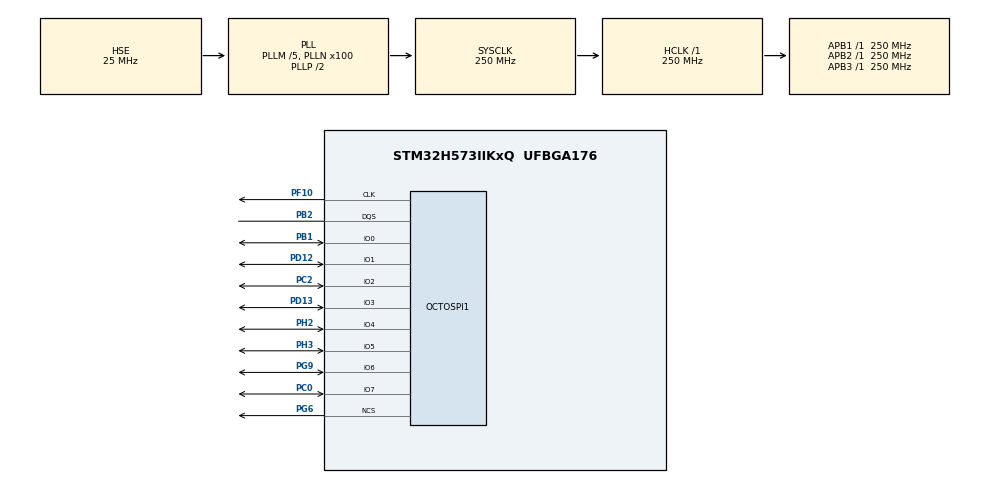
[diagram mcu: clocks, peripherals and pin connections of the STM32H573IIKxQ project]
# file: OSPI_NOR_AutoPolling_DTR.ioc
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CORTEX_M33_NS.userName=CORTEX_M33
Mcu.Family=STM32H5
Mcu.Name=STM32H573IIKxQ
Mcu.Package=UFBGA176
NVIC.OCTOSPI1_IRQn=true\:0\:0\:false\:false\:true\:true\:true\:true
NVIC.PriorityGroup=NVIC_PRIORITYGROUP_4
OCTOSPI1.ChipSelectHighTimeCycle=2
OCTOSPI1.ClockPrescaler=1
OCTOSPI1.DelayBlockBypass=HAL_XSPI_DELAY_BLOCK_ON
OCTOSPI1.DelayHoldQuarterCycle=HAL_XSPI_DHQC_ENABLE
OCTOSPI1.FifoThresholdByte=4
OCTOSPI1.MemorySize=HAL_XSPI_SIZE_512MB
OCTOSPI1.MemoryType=HAL_XSPI_MEMTYPE_MACRONIX
OCTOSPI1.PhaseSel=4
OCTOSPI1.Units=35
PB1.Mode=OCTOSPI1_IO_Octo
PB1.Signal=OCTOSPI1_IO0
PB2.Mode=octods_mode
PB2.Signal=OCTOSPI1_DQS
PC0.Mode=OCTOSPI1_IO_Octo
PC0.Signal=OCTOSPI1_IO7
PC2.Mode=OCTOSPI1_IO_Octo
PC2.Signal=OCTOSPI1_IO2
PD12.Mode=OCTOSPI1_IO_Octo
PD12.Signal=OCTOSPI1_IO1
PD13.Mode=OCTOSPI1_IO_Octo
PD13.Signal=OCTOSPI1_IO3
PF10.Mode=octods_mode
PF10.Signal=OCTOSPI1_CLK
PG6.Mode=octods_mode
PG6.Signal=OCTOSPI1_NCS
PG9.Mode=OCTOSPI1_IO_Octo
PG9.Signal=OCTOSPI1_IO6
PH0-OSC_IN(PH0).Mode=HSE-DIG-External-Clock-Source
PH0-OSC_IN(PH0).Signal=RCC_OSC_IN
PH2.Mode=OCTOSPI1_IO_Octo
PH2.Signal=OCTOSPI1_IO4
PH3.Mode=OCTOSPI1_IO_Octo
PH3.Signal=OCTOSPI1_IO5
ProjectManager.HeapSize=0x200
ProjectManager.StackSize=0x400
ProjectManager.TargetToolchain=EWARM V9.20
RCC.ADCFreq_Value=250000000
RCC.AHBFreq_Value=250000000
RCC.APB1Freq_Value=250000000
RCC.APB1TimFreq_Value=250000000
RCC.APB2Freq_Value=250000000
RCC.APB2TimFreq_Value=250000000
RCC.APB3Freq_Value=250000000
RCC.CSI_VALUE=4000000
RCC.CortexFreq_Value=250000000
RCC.EPOD_VALUE=25000000
RCC.HCLKFreq_Value=250000000
RCC.HSE_VALUE=25000000
RCC.HSI48_VALUE=48000000
RCC.HSIDiv=RCC_HSI_DIV1
RCC.HSI_VALUE=64000000
RCC.LSE_VALUE=32768
RCC.LSIRC_VALUE=32000
RCC.OCTOSPIMCLockSelection=RCC_OSPICLKSOURCE_PLL2R
RCC.PLL2M=8
RCC.PLL2N=45
RCC.PLL2Source=RCC_PLL2_SOURCE_HSI
RCC.PLLM=5
RCC.PLLN=100
RCC.PLLSourceVirtual=RCC_PLL1_SOURCE_HSE
RCC.SYSCLKFreq_VALUE=250000000
RCC.SYSCLKSource=RCC_SYSCLKSOURCE_PLLCLK
RCC.USBFreq_Value=48000000
RCC.VCOOutputFreq_Value=500000000
VP_ICACHE_VS_ICACHE.Mode=DefaultMode
VP_PWR_VS_SECSignals.Mode=Security/Privilege
board=custom

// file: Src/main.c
/* USER CODE BEGIN Header */
/**
  ******************************************************************************
  * @file           : main.c
  * @brief          : Main program body
  ******************************************************************************
  * @attention
  *
  * Copyright (c) 2023 STMicroelectronics.
  * All rights reserved.
  *
  * This software is licensed under terms that can be found in the LICENSE file
  * in the root directory of this software component.
  * If no LICENSE file comes with this software, it is provided AS-IS.
  *
  ******************************************************************************
  */
/* USER CODE END Header */
#include "main.h"

XSPI_HandleTypeDef hxspi1;

/* USER CODE BEGIN PV */
/* Buffer used for transmission */
uint8_t aTxBuffer[BUFFERSIZE];

/* Buffer used for reception */
uint8_t aRxBuffer[BUFFERSIZE];
/* USER CODE END PV */

void SystemClock_Config(void);
static void MX_GPIO_Init(void);
static void MX_ICACHE_Init(void);
static void MX_OCTOSPI1_Init(void);
/* USER CODE BEGIN PFP */
static void XSPI_WriteEnable(XSPI_HandleTypeDef *hospi);
static void XSPI_AutoPollingMemReady(XSPI_HandleTypeDef *hospi);
static void XSPI_OctalDtrModeCfg(XSPI_HandleTypeDef *hospi);
/* USER CODE END PFP */

int main(void)
{

  /* USER CODE BEGIN 1 */
  XSPI_RegularCmdTypeDef sCommand = {0};
  uint16_t index, errorBuffer = 0;

  /* STM32H5xx HAL library initialization:
       - Systick timer is configured by default as source of time base, but user
             can eventually implement his proper time base source (a general purpose
             timer for example or other time source), keeping in mind that Time base
             duration should be kept 1ms since PPP_TIMEOUT_VALUEs are defined and
             handled in milliseconds basis.
       - Set NVIC Group Priority to 4
       - Low Level Initialization
     */
  /* USER CODE END 1 */

  /* MCU Configuration--------------------------------------------------------*/

  /* Reset of all peripherals, Initializes the Flash interface and the Systick. */
  HAL_Init();

  /* Configure the system clock */
  SystemClock_Config();

  /* USER CODE BEGIN SysInit */
  BSP_LED_Init(LED2);
  BSP_LED_Init(LED1);
  /* USER CODE END SysInit */

  /* Initialize all configured peripherals */
  MX_GPIO_Init();
  MX_ICACHE_Init();
  MX_OCTOSPI1_Init();
  /* USER CODE BEGIN 2 */

  /* Initialize Transmission and Reception buffer --------------------------------------- */
  for (index = 0; index < BUFFERSIZE; index++)
  {
    aTxBuffer[index] = index;
    aRxBuffer[index] = 0;
  }

  /* Configure the memory in octal mode ------------------------------------- */
  XSPI_OctalDtrModeCfg(&hxspi1);

  /* Erasing Sequence ----------------------------------------------- */
  XSPI_WriteEnable(&hxspi1);

  sCommand.OperationType      = HAL_XSPI_OPTYPE_COMMON_CFG;
  sCommand.Instruction        = OCTAL_SECTOR_ERASE_CMD;
  sCommand.InstructionMode    = HAL_XSPI_INSTRUCTION_8_LINES;
  sCommand.InstructionWidth   = HAL_XSPI_INSTRUCTION_16_BITS;
  sCommand.InstructionDTRMode = HAL_XSPI_INSTRUCTION_DTR_ENABLE;
  sCommand.AddressMode        = HAL_XSPI_ADDRESS_8_LINES;
  sCommand.AddressWidth       = HAL_XSPI_ADDRESS_32_BITS;
  sCommand.AddressDTRMode     = HAL_XSPI_ADDRESS_DTR_ENABLE;
  sCommand.AlternateBytesMode = HAL_XSPI_ALT_BYTES_NONE;
  sCommand.DataDTRMode        = HAL_XSPI_DATA_DTR_ENABLE;
  sCommand.SIOOMode           = HAL_XSPI_SIOO_INST_EVERY_CMD;
  sCommand.DataMode           = HAL_XSPI_DATA_NONE;
  sCommand.Address            = 0;
  sCommand.DummyCycles        = 0;
  sCommand.DQSMode            = HAL_XSPI_DQS_DISABLE;
  sCommand.IOSelect           = HAL_XSPI_SELECT_IO_7_0;
  sCommand.SIOOMode           = HAL_XSPI_SIOO_INST_EVERY_CMD;

  if (HAL_XSPI_Command(&hxspi1, &sCommand, HAL_XSPI_TIMEOUT_DEFAULT_VALUE) != HAL_OK)
  {
    Error_Handler();
  }

  /* Configure automatic polling mode to wait for end of erase ------- */
  XSPI_AutoPollingMemReady(&hxspi1);

  /* Writing Sequence ------------------------------------------------ */
  XSPI_WriteEnable(&hxspi1);

  sCommand.Instruction = OCTAL_PAGE_PROG_CMD;
  sCommand.DataMode    = HAL_XSPI_DATA_8_LINES;
  sCommand.DataLength  = BUFFERSIZE;
  sCommand.Address     = 0;

  if (HAL_XSPI_Command(&hxspi1, &sCommand, HAL_XSPI_TIMEOUT_DEFAULT_VALUE) != HAL_OK)
  {
    Error_Handler();
  }

  if (HAL_XSPI_Transmit(&hxspi1, aTxBuffer, HAL_XSPI_TIMEOUT_DEFAULT_VALUE) != HAL_OK)
  {
    Error_Handler();
  }

  /* Configure automatic polling mode to wait for end of program ------- */
  XSPI_AutoPollingMemReady(&hxspi1);

  /* Reading Sequence ------------------------------------------------ */
  sCommand.Instruction        = OCTAL_IO_DTR_READ_CMD;
  sCommand.DummyCycles        = DUMMY_CLOCK_CYCLES_READ_OCTAL;
  sCommand.DataLength         = BUFFERSIZE;

  if (HAL_XSPI_Command(&hxspi1, &sCommand, HAL_XSPI_TIMEOUT_DEFAULT_VALUE) != HAL_OK)
  {
    Error_Handler();
  }

  if (HAL_XSPI_Receive(&hxspi1, aRxBuffer, HAL_XSPI_TIMEOUT_DEFAULT_VALUE) != HAL_OK)
  {
    Error_Handler();
  }

  /* Result comparison ----------------------------------------------- */
  for (index = 0; index < BUFFERSIZE; index++)
  {
    if (aRxBuffer[index] != aTxBuffer[index])
    {
      BSP_LED_On(LED2);
      errorBuffer++;
    }
  }

  if (errorBuffer == 0)
  {
    /* Turn LED1 on */
    BSP_LED_On(LED1);
  }

  /* DeInit OCTOSPI */
  HAL_XSPI_DeInit(&hxspi1);
  /* USER CODE END 2 */

  /* Infinite loop */
  while (1)
  {

  }
}

void SystemClock_Config(void)
{
  RCC_OscInitTypeDef RCC_OscInitStruct = {0};
  RCC_ClkInitTypeDef RCC_ClkInitStruct = {0};

  /** Configure the main internal regulator output voltage
  */
  __HAL_PWR_VOLTAGESCALING_CONFIG(PWR_REGULATOR_VOLTAGE_SCALE0);

  while(!__HAL_PWR_GET_FLAG(PWR_FLAG_VOSRDY)) {}

  /** Initializes the RCC Oscillators according to the specified parameters
  * in the RCC_OscInitTypeDef structure.
  */
  RCC_OscInitStruct.OscillatorType = RCC_OSCILLATORTYPE_HSI|RCC_OSCILLATORTYPE_HSE;
  RCC_OscInitStruct.HSEState = RCC_HSE_BYPASS_DIGITAL;
  RCC_OscInitStruct.HSIState = RCC_HSI_ON;
  RCC_OscInitStruct.HSIDiv = RCC_HSI_DIV1;
  RCC_OscInitStruct.HSICalibrationValue = RCC_HSICALIBRATION_DEFAULT;
  RCC_OscInitStruct.PLL.PLLState = RCC_PLL_ON;
  RCC_OscInitStruct.PLL.PLLSource = RCC_PLL1_SOURCE_HSE;
  RCC_OscInitStruct.PLL.PLLM = 5;
  RCC_OscInitStruct.PLL.PLLN = 100;
  RCC_OscInitStruct.PLL.PLLP = 2;
  RCC_OscInitStruct.PLL.PLLQ = 2;
  RCC_OscInitStruct.PLL.PLLR = 2;
  RCC_OscInitStruct.PLL.PLLRGE = RCC_PLL1_VCIRANGE_2;
  RCC_OscInitStruct.PLL.PLLVCOSEL = RCC_PLL1_VCORANGE_WIDE;
  RCC_OscInitStruct.PLL.PLLFRACN = 0;
  if (HAL_RCC_OscConfig(&RCC_OscInitStruct) != HAL_OK)
  {
    Error_Handler();
  }

  /** Initializes the CPU, AHB and APB buses clocks
  */
  RCC_ClkInitStruct.ClockType = RCC_CLOCKTYPE_HCLK|RCC_CLOCKTYPE_SYSCLK
                              |RCC_CLOCKTYPE_PCLK1|RCC_CLOCKTYPE_PCLK2
                              |RCC_CLOCKTYPE_PCLK3;
  RCC_ClkInitStruct.SYSCLKSource = RCC_SYSCLKSOURCE_PLLCLK;
  RCC_ClkInitStruct.AHBCLKDivider = RCC_SYSCLK_DIV1;
  RCC_ClkInitStruct.APB1CLKDivider = RCC_HCLK_DIV1;
  RCC_ClkInitStruct.APB2CLKDivider = RCC_HCLK_DIV1;
  RCC_ClkInitStruct.APB3CLKDivider = RCC_HCLK_DIV1;

  if (HAL_RCC_ClockConfig(&RCC_ClkInitStruct, FLASH_LATENCY_5) != HAL_OK)
  {
    Error_Handler();
  }

  /** Configure the programming delay
  */
  __HAL_FLASH_SET_PROGRAM_DELAY(FLASH_PROGRAMMING_DELAY_2);
}

static void MX_ICACHE_Init(void)
{

  /** Enable instruction cache (default 2-ways set associative cache)
  */
  if (HAL_ICACHE_Enable() != HAL_OK)
  {
    Error_Handler();
  }

}

static void MX_OCTOSPI1_Init(void)
{

  HAL_XSPI_DLYB_CfgTypeDef HAL_XSPI_DLYB_Cfg_Struct = {0};

  /* OCTOSPI1 parameter configuration*/
  hxspi1.Instance = OCTOSPI1;
  hxspi1.Init.FifoThresholdByte = 4;
  hxspi1.Init.MemoryMode = HAL_XSPI_SINGLE_MEM;
  hxspi1.Init.MemoryType = HAL_XSPI_MEMTYPE_MACRONIX;
  hxspi1.Init.MemorySize = HAL_XSPI_SIZE_512MB;
  hxspi1.Init.ChipSelectHighTimeCycle = 2;
  hxspi1.Init.FreeRunningClock = HAL_XSPI_FREERUNCLK_DISABLE;
  hxspi1.Init.ClockMode = HAL_XSPI_CLOCK_MODE_0;
  hxspi1.Init.WrapSize = HAL_XSPI_WRAP_NOT_SUPPORTED;
  hxspi1.Init.ClockPrescaler = 1;
  hxspi1.Init.SampleShifting = HAL_XSPI_SAMPLE_SHIFT_NONE;
  hxspi1.Init.DelayHoldQuarterCycle = HAL_XSPI_DHQC_ENABLE;
  hxspi1.Init.ChipSelectBoundary = HAL_XSPI_BONDARYOF_NONE;
  hxspi1.Init.DelayBlockBypass = HAL_XSPI_DELAY_BLOCK_ON;
  hxspi1.Init.Refresh = 0;
  if (HAL_XSPI_Init(&hxspi1) != HAL_OK)
  {
    Error_Handler();
  }
  HAL_XSPI_DLYB_Cfg_Struct.Units = 35;
  HAL_XSPI_DLYB_Cfg_Struct.PhaseSel = 4;
  if (HAL_XSPI_DLYB_SetConfig(&hxspi1, &HAL_XSPI_DLYB_Cfg_Struct) != HAL_OK)
  {
    Error_Handler();
  }

}

static void MX_GPIO_Init(void)
{

  /* GPIO Ports Clock Enable */
  __HAL_RCC_GPIOG_CLK_ENABLE();
  __HAL_RCC_GPIOH_CLK_ENABLE();
  __HAL_RCC_GPIOF_CLK_ENABLE();
  __HAL_RCC_GPIOC_CLK_ENABLE();
  __HAL_RCC_GPIOD_CLK_ENABLE();
  __HAL_RCC_GPIOB_CLK_ENABLE();

}

/* USER CODE BEGIN 4 */
/**
  * @brief  Transfer Error callback.
  * @param  hospi: OSPI handle
  * @retval None
  */
void HAL_XSPI_ErrorCallback(XSPI_HandleTypeDef *hospi)
{
  Error_Handler();
}

/**
  * @brief  This function send a Write Enable and wait it is effective.
  * @param  hospi: XSPI handle
  * @retval None
  */
static void XSPI_WriteEnable(XSPI_HandleTypeDef *hospi)
{
  XSPI_RegularCmdTypeDef  sCommand = {0};
  XSPI_AutoPollingTypeDef sConfig  = {0};

  /* Enable write operations ------------------------------------------ */
  sCommand.OperationType      = HAL_XSPI_OPTYPE_COMMON_CFG;
  sCommand.Instruction        = OCTAL_WRITE_ENABLE_CMD;
  sCommand.InstructionMode    = HAL_XSPI_INSTRUCTION_8_LINES;
  sCommand.InstructionWidth   = HAL_XSPI_INSTRUCTION_16_BITS;
  sCommand.InstructionDTRMode = HAL_XSPI_INSTRUCTION_DTR_ENABLE;
  sCommand.AddressMode        = HAL_XSPI_ADDRESS_NONE;
  sCommand.AlternateBytesMode = HAL_XSPI_ALT_BYTES_NONE;
  sCommand.DataMode           = HAL_XSPI_DATA_NONE;
  sCommand.DummyCycles        = 0;
  sCommand.DQSMode            = HAL_XSPI_DQS_DISABLE;
  sCommand.SIOOMode           = HAL_XSPI_SIOO_INST_EVERY_CMD;
  sCommand.IOSelect           = HAL_XSPI_SELECT_IO_7_0;

  if (HAL_XSPI_Command(hospi, &sCommand, HAL_XSPI_TIMEOUT_DEFAULT_VALUE) != HAL_OK)
  {
    Error_Handler();
  }

  /* Configure automatic polling mode to wait for write enabling ---- */
  sCommand.Instruction    = OCTAL_READ_STATUS_REG_CMD;
  sCommand.Address        = 0x0;
  sCommand.AddressMode    = HAL_XSPI_ADDRESS_8_LINES;
  sCommand.AddressWidth   = HAL_XSPI_ADDRESS_32_BITS;
  sCommand.AddressDTRMode = HAL_XSPI_ADDRESS_DTR_ENABLE;
  sCommand.DataMode       = HAL_XSPI_DATA_8_LINES;
  sCommand.DataDTRMode    = HAL_XSPI_DATA_DTR_ENABLE;
  sCommand.DataLength     = 2;
  sCommand.DummyCycles    = DUMMY_CLOCK_CYCLES_READ_OCTAL;
  sCommand.DQSMode        = HAL_XSPI_DQS_ENABLE;

  if (HAL_XSPI_Command(hospi, &sCommand, HAL_XSPI_TIMEOUT_DEFAULT_VALUE) != HAL_OK)
  {
    Error_Handler();
  }

  sConfig.MatchValue    = WRITE_ENABLE_MATCH_VALUE;
  sConfig.MatchMask     = WRITE_ENABLE_MASK_VALUE;
  sConfig.MatchMode     = HAL_XSPI_MATCH_MODE_AND;
  sConfig.IntervalTime  = AUTO_POLLING_INTERVAL;
  sConfig.AutomaticStop = HAL_XSPI_AUTOMATIC_STOP_ENABLE;

  if (HAL_XSPI_AutoPolling(hospi, &sConfig, HAL_XSPI_TIMEOUT_DEFAULT_VALUE) != HAL_OK)
  {
    Error_Handler();
  }
}

/**
  * @brief  This function read the SR of the memory and wait the EOP.
  * @param  hospi: XSPI handle
  * @retval None
  */
static void XSPI_AutoPollingMemReady(XSPI_HandleTypeDef *hospi)
{
  XSPI_RegularCmdTypeDef  sCommand = {0};
  XSPI_AutoPollingTypeDef sConfig = {0};

  /* Configure automatic polling mode to wait for memory ready ------ */
  sCommand.OperationType      = HAL_XSPI_OPTYPE_COMMON_CFG;
  sCommand.Instruction        = OCTAL_READ_STATUS_REG_CMD;
  sCommand.InstructionMode    = HAL_XSPI_INSTRUCTION_8_LINES;
  sCommand.InstructionWidth   = HAL_XSPI_INSTRUCTION_16_BITS;
  sCommand.InstructionDTRMode = HAL_XSPI_INSTRUCTION_DTR_ENABLE;
  sCommand.Address            = 0x0;
  sCommand.AddressMode        = HAL_XSPI_ADDRESS_8_LINES;
  sCommand.AddressWidth       = HAL_XSPI_ADDRESS_32_BITS;
  sCommand.AddressDTRMode     = HAL_XSPI_ADDRESS_DTR_ENABLE;
  sCommand.AlternateBytesMode = HAL_XSPI_ALT_BYTES_NONE;
  sCommand.DataMode           = HAL_XSPI_DATA_8_LINES;
  sCommand.DataDTRMode        = HAL_XSPI_DATA_DTR_ENABLE;
  sCommand.DataLength         = 2;
  sCommand.DummyCycles        = DUMMY_CLOCK_CYCLES_READ_OCTAL;
  sCommand.DQSMode            = HAL_XSPI_DQS_ENABLE;
  sCommand.SIOOMode           = HAL_XSPI_SIOO_INST_EVERY_CMD;
  sCommand.IOSelect           = HAL_XSPI_SELECT_IO_7_0;

  if (HAL_XSPI_Command(hospi, &sCommand, HAL_XSPI_TIMEOUT_DEFAULT_VALUE) != HAL_OK)
  {
    Error_Handler();
  }

  sConfig.MatchValue         = MEMORY_READY_MATCH_VALUE;
  sConfig.MatchMask          = MEMORY_READY_MASK_VALUE;
  sConfig.MatchMode          = HAL_XSPI_MATCH_MODE_AND;
  sConfig.IntervalTime       = AUTO_POLLING_INTERVAL;
  sConfig.AutomaticStop      = HAL_XSPI_AUTOMATIC_STOP_ENABLE;

  if (HAL_XSPI_AutoPolling(hospi, &sConfig, HAL_XSPI_TIMEOUT_DEFAULT_VALUE) != HAL_OK)
  {
    Error_Handler();
  }
}

/**
  * @brief  This function configure the memory in Octal DTR mode.
  * @param  hospi: XSPI handle
  * @retval None
  */
static void XSPI_OctalDtrModeCfg(XSPI_HandleTypeDef *hospi)
{
  uint8_t reg;
  XSPI_RegularCmdTypeDef  sCommand = {0};
  XSPI_AutoPollingTypeDef sConfig  = {0};

  /* Enable write operations */
  sCommand.OperationType      = HAL_XSPI_OPTYPE_COMMON_CFG;
  sCommand.Instruction        = WRITE_ENABLE_CMD;
  sCommand.InstructionMode    = HAL_XSPI_INSTRUCTION_1_LINE;
  sCommand.InstructionWidth   = HAL_XSPI_INSTRUCTION_8_BITS;
  sCommand.InstructionDTRMode = HAL_XSPI_INSTRUCTION_DTR_DISABLE;
  sCommand.AddressMode        = HAL_XSPI_ADDRESS_NONE;
  sCommand.AddressDTRMode     = HAL_XSPI_ADDRESS_DTR_DISABLE;
  sCommand.AlternateBytesMode = HAL_XSPI_ALT_BYTES_NONE;
  sCommand.DataMode           = HAL_XSPI_DATA_NONE;
  sCommand.DataDTRMode        = HAL_XSPI_DATA_DTR_DISABLE;
  sCommand.DummyCycles        = 0;
  sCommand.DQSMode            = HAL_XSPI_DQS_DISABLE;
  sCommand.SIOOMode           = HAL_XSPI_SIOO_INST_EVERY_CMD;
  sCommand.IOSelect           = HAL_XSPI_SELECT_IO_7_0;

  if (HAL_XSPI_Command(hospi, &sCommand, HAL_XSPI_TIMEOUT_DEFAULT_VALUE) != HAL_OK)
  {
    Error_Handler();
  }

  sCommand.Instruction        = READ_STATUS_REG_CMD;
  sCommand.DataMode           = HAL_XSPI_DATA_1_LINE;
  sCommand.DataLength         = 1;

  if (HAL_XSPI_Command(hospi, &sCommand, HAL_XSPI_TIMEOUT_DEFAULT_VALUE) != HAL_OK)
  {
    Error_Handler();
  }

  /* Reconfigure XSPI to automatic polling mode to wait for write enabling */
  sConfig.MatchMode       = HAL_XSPI_MATCH_MODE_AND;
  sConfig.AutomaticStop   = HAL_XSPI_AUTOMATIC_STOP_ENABLE;
  sConfig.IntervalTime    = 0x10;
  sConfig.MatchValue      = 0x02;
  sConfig.MatchMask       = 0x02;

  if (HAL_XSPI_AutoPolling(hospi, &sConfig, HAL_XSPI_TIMEOUT_DEFAULT_VALUE) != HAL_OK)
  {
    Error_Handler();
  }

  /* Write Configuration register 2 (with Octal I/O SPI protocol) */
  sCommand.Instruction = WRITE_CFG_REG_2_CMD;
  sCommand.AddressMode = HAL_XSPI_ADDRESS_1_LINE;
  sCommand.AddressWidth= HAL_XSPI_ADDRESS_32_BITS;

  sCommand.Address = 0;
  reg = 0x2;

  if (HAL_XSPI_Command(hospi, &sCommand, HAL_XSPI_TIMEOUT_DEFAULT_VALUE) != HAL_OK)
  {
    Error_Handler();
  }

  if (HAL_XSPI_Transmit(hospi, &reg, HAL_XSPI_TIMEOUT_DEFAULT_VALUE) != HAL_OK)
  {
    Error_Handler();
  }

  HAL_Delay(40);

}
/* USER CODE END 4 */

void Error_Handler(void)
{
  /* USER CODE BEGIN Error_Handler_Debug */
  /* User can add his own implementation to report the HAL error return state */
  __disable_irq();
  while (1)
  {
    BSP_LED_Toggle(LED_ORANGE);
    HAL_Delay(100);
  }
  /* USER CODE END Error_Handler_Debug */
}
